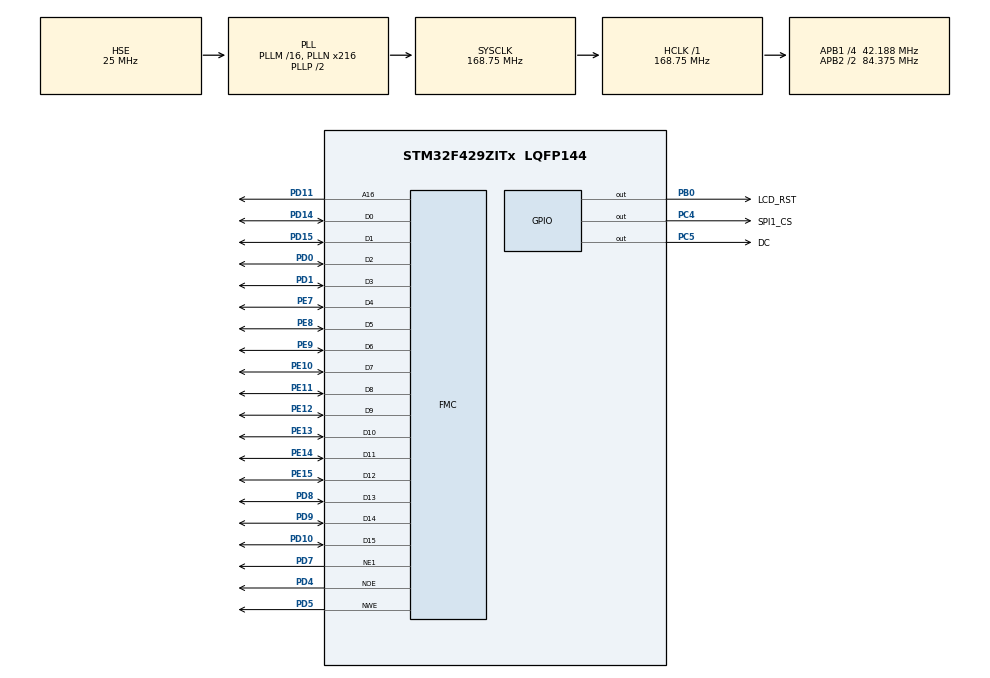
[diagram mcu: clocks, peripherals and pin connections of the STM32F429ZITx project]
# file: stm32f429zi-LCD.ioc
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FMC.AddressSetupTime1=0
FMC.DataSetupTime1=26
FMC.ExtendedAddressSetupTime1=0
FMC.ExtendedBusTurnAroundDuration1=0
FMC.ExtendedDataSetupTime1=1
FMC.ExtendedMode1=FMC_EXTENDED_MODE_ENABLE
Mcu.Family=STM32F4
Mcu.Name=STM32F429ZITx
Mcu.Package=LQFP144
NVIC.PriorityGroup=NVIC_PRIORITYGROUP_4
PA13.Mode=Serial_Wire
PA13.Signal=SYS_JTMS-SWDIO
PA14.Mode=Serial_Wire
PA14.Signal=SYS_JTCK-SWCLK
PB0.GPIO_Label=LCD_RST
PB0.Signal=GPIO_Output
PC4.GPIO_Label=SPI1_CS
PC4.Signal=GPIO_Output
PC5.GPIO_Label=DC
PC5.Signal=GPIO_Output
PD0.Signal=FMC_D2_DA2
PD1.Signal=FMC_D3_DA3
PD10.Signal=FMC_D15_DA15
PD11.Signal=FMC_A16_CLE
PD14.Signal=FMC_D0_DA0
PD15.Signal=FMC_D1_DA1
PD4.Signal=FMC_NOE
PD5.Signal=FMC_NWE
PD7.Mode=NorPsramChipSelect1_1
PD7.Signal=FMC_NE1
PD8.Signal=FMC_D13_DA13
PD9.Signal=FMC_D14_DA14
PE10.Signal=FMC_D7_DA7
PE11.Signal=FMC_D8_DA8
PE12.Signal=FMC_D9_DA9
PE13.Signal=FMC_D10_DA10
PE14.Signal=FMC_D11_DA11
PE15.Signal=FMC_D12_DA12
PE7.Signal=FMC_D4_DA4
PE8.Signal=FMC_D5_DA5
PE9.Signal=FMC_D6_DA6
PH0/OSC_IN.Mode=HSE-External-Oscillator
PH0/OSC_IN.Signal=RCC_OSC_IN
PH1/OSC_OUT.Mode=HSE-External-Oscillator
PH1/OSC_OUT.Signal=RCC_OSC_OUT
ProjectManager.HeapSize=0x200
ProjectManager.StackSize=0x400
ProjectManager.TargetToolchain=MDK-ARM V5.32
RCC.48MHZClocksFreq_Value=84375000
RCC.AHBFreq_Value=168750000
RCC.APB1CLKDivider=RCC_HCLK_DIV4
RCC.APB1Freq_Value=42187500
RCC.APB1TimFreq_Value=84375000
RCC.APB2CLKDivider=RCC_HCLK_DIV2
RCC.APB2Freq_Value=84375000
RCC.APB2TimFreq_Value=168750000
RCC.CortexFreq_Value=168750000
RCC.HCLKFreq_Value=168750000
RCC.HSE_VALUE=25000000
RCC.HSI_VALUE=16000000
RCC.LSE_VALUE=32768
RCC.PLLN=216
RCC.PLLSAIN=60
RCC.PLLSAIR=3
RCC.PLLSourceVirtual=RCC_PLLSOURCE_HSE
RCC.SYSCLKFreq_VALUE=168750000
RCC.SYSCLKSource=RCC_SYSCLKSOURCE_PLLCLK
RCC.VCOOutputFreq_Value=337500000
SH.FMC_A16_CLE.0=FMC_A16,A16_1
SH.FMC_D0_DA0.0=FMC_D0,16b-d1
SH.FMC_D10_DA10.0=FMC_D10,16b-d1
SH.FMC_D11_DA11.0=FMC_D11,16b-d1
SH.FMC_D12_DA12.0=FMC_D12,16b-d1
SH.FMC_D13_DA13.0=FMC_D13,16b-d1
SH.FMC_D14_DA14.0=FMC_D14,16b-d1
SH.FMC_D15_DA15.0=FMC_D15,16b-d1
SH.FMC_D1_DA1.0=FMC_D1,16b-d1
SH.FMC_D2_DA2.0=FMC_D2,16b-d1
SH.FMC_D3_DA3.0=FMC_D3,16b-d1
SH.FMC_D4_DA4.0=FMC_D4,16b-d1
SH.FMC_D5_DA5.0=FMC_D5,16b-d1
SH.FMC_D6_DA6.0=FMC_D6,16b-d1
SH.FMC_D7_DA7.0=FMC_D7,16b-d1
SH.FMC_D8_DA8.0=FMC_D8,16b-d1
SH.FMC_D9_DA9.0=FMC_D9,16b-d1
SH.FMC_NOE.0=FMC_NOE,Lcd1
SH.FMC_NWE.0=FMC_NWE,Lcd1
board=custom

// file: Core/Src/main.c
/* USER CODE BEGIN Header */
/**
  ******************************************************************************
  * @file           : main.c
  * @brief          : Main program body
  ******************************************************************************
  * @attention
  *
  * Copyright (c) 2022 STMicroelectronics.
  * All rights reserved.
  *
  * This software is licensed under terms that can be found in the LICENSE file
  * in the root directory of this software component.
  * If no LICENSE file comes with this software, it is provided AS-IS.
  *
  ******************************************************************************
  */
/* USER CODE END Header */
#include "main.h"

/* USER CODE BEGIN Includes */
#include "bsp_ili9341_lcd.h"
/* USER CODE END Includes */

 SRAM_HandleTypeDef hsram1;

void SystemClock_Config(void);
static void MX_GPIO_Init(void);
static void MX_FMC_Init(void);

/* USER CODE BEGIN 0 */
void LCD_Test(void)
{
    /*演示显示变量*/
	static uint8_t testCNT = 0;
	char dispBuff[100];

	testCNT++;

	LCD_SetFont(&Font8x16);
	LCD_SetColors(RED,BLACK);

    ILI9341_Clear(0,0,LCD_X_LENGTH,LCD_Y_LENGTH);	/* 清屏，显示全黿 */
	/********显示字符串示便*******/
    ILI9341_DispStringLine_EN(LINE(0),"hello lcd");
    ILI9341_DispStringLine_EN(LINE(1),"Image resolution:480x320 px");
#if 0
    if(lcdid == LCDID_ILI9341)
    {
        ILI9341_DispStringLine_EN(LINE(2),"ILI9341 LCD driver");
    }
    else if(lcdid == LCDID_ST7789V)
    {
        ILI9341_DispStringLine_EN(LINE(2),"ST7789V LCD driver");
    }
    ILI9341_DispStringLine_EN(LINE(3),"XPT2046 Touch Pad driver");
#endif
#if 1
	/********显示变量示例*******/
	LCD_SetFont(&Font16x24);
	LCD_SetTextColor(GREEN);

	/*使用c标准库把变量转化成字符串*/
	sprintf(dispBuff,"Count : %d ",testCNT);
    LCD_ClearLine(LINE(4));	/* 清除单行文字 */

	/*然后显示该字符串即可，其它变量也是这样处琿*/
	ILI9341_DispStringLine_EN(LINE(4),dispBuff);

	/*******显示图形示例******/
	LCD_SetFont(&Font24x32);
    /* 画直线 */

    LCD_ClearLine(LINE(4));/* 清除单行文字 */
	LCD_SetTextColor(BLUE);

    ILI9341_DispStringLine_EN(LINE(4),"Draw line:");

	LCD_SetTextColor(RED);
    ILI9341_DrawLine(50,170,210,230);
    ILI9341_DrawLine(50,200,210,240);

	LCD_SetTextColor(GREEN);
    ILI9341_DrawLine(100,170,200,230);
    ILI9341_DrawLine(200,200,220,240);

	LCD_SetTextColor(BLUE);
    ILI9341_DrawLine(110,170,110,230);
    ILI9341_DrawLine(130,200,220,240);

    HAL_Delay(1000);

    ILI9341_Clear(0,16*8,LCD_X_LENGTH,LCD_Y_LENGTH-16*8);	/* 清屏，显示全黿 */

    /*画矩彿*/

    LCD_ClearLine(LINE(4));	/* 清除单行文字 */
	LCD_SetTextColor(BLUE);

    ILI9341_DispStringLine_EN(LINE(4),"Draw Rect:");

	LCD_SetTextColor(RED);
    ILI9341_DrawRectangle(50,200,100,30,1);

	LCD_SetTextColor(GREEN);
    ILI9341_DrawRectangle(160,200,20,40,0);

	LCD_SetTextColor(BLUE);
    ILI9341_DrawRectangle(170,200,50,20,1);

    HAL_Delay(1000);

    ILI9341_Clear(0,16*8,LCD_X_LENGTH,LCD_Y_LENGTH-16*8);	/* 清屏，显示全黿 */

    /* 画圆 */
    LCD_ClearLine(LINE(4));	/* 清除单行文字 */
	LCD_SetTextColor(BLUE);

    ILI9341_DispStringLine_EN(LINE(4),"Draw Cir:");

	LCD_SetTextColor(RED);
    ILI9341_DrawCircle(100,200,20,0);

	LCD_SetTextColor(GREEN);
    ILI9341_DrawCircle(100,200,10,1);

	LCD_SetTextColor(BLUE);
	ILI9341_DrawCircle(140,200,20,0);

    HAL_Delay(1000);

    ILI9341_Clear(0,16*8,LCD_X_LENGTH,LCD_Y_LENGTH-16*8);	/* 清屏，显示全黿 */
#endif
}
/* USER CODE END 0 */

int main(void)
{

  /* MCU Configuration--------------------------------------------------------*/

  /* Reset of all peripherals, Initializes the Flash interface and the Systick. */
  HAL_Init();

  /* Configure the system clock */
  SystemClock_Config();

  /* Initialize all configured peripherals */
  MX_GPIO_Init();
  MX_FMC_Init();
  ILI9341_Init();
  uint16_t test = ILI9341_ReadID();
  /* Infinite loop */
  /* USER CODE BEGIN WHILE */
    LCD_Test();
  while (1)
  {
    /* USER CODE END WHILE */
  }
}

void SystemClock_Config(void)
{
  RCC_OscInitTypeDef RCC_OscInitStruct = {0};
  RCC_ClkInitTypeDef RCC_ClkInitStruct = {0};

  /** Configure the main internal regulator output voltage
  */
  __HAL_RCC_PWR_CLK_ENABLE();
  __HAL_PWR_VOLTAGESCALING_CONFIG(PWR_REGULATOR_VOLTAGE_SCALE1);

  /** Initializes the RCC Oscillators according to the specified parameters
  * in the RCC_OscInitTypeDef structure.
  */
  RCC_OscInitStruct.OscillatorType = RCC_OSCILLATORTYPE_HSE;
  RCC_OscInitStruct.HSEState = RCC_HSE_ON;
  RCC_OscInitStruct.PLL.PLLState = RCC_PLL_ON;
  RCC_OscInitStruct.PLL.PLLSource = RCC_PLLSOURCE_HSE;
  RCC_OscInitStruct.PLL.PLLM = 16;
  RCC_OscInitStruct.PLL.PLLN = 216;
  RCC_OscInitStruct.PLL.PLLP = RCC_PLLP_DIV2;
  RCC_OscInitStruct.PLL.PLLQ = 4;
  if (HAL_RCC_OscConfig(&RCC_OscInitStruct) != HAL_OK)
  {
    Error_Handler();
  }

  /** Activate the Over-Drive mode
  */
  if (HAL_PWREx_EnableOverDrive() != HAL_OK)
  {
    Error_Handler();
  }

  /** Initializes the CPU, AHB and APB buses clocks
  */
  RCC_ClkInitStruct.ClockType = RCC_CLOCKTYPE_HCLK|RCC_CLOCKTYPE_SYSCLK
                              |RCC_CLOCKTYPE_PCLK1|RCC_CLOCKTYPE_PCLK2;
  RCC_ClkInitStruct.SYSCLKSource = RCC_SYSCLKSOURCE_PLLCLK;
  RCC_ClkInitStruct.AHBCLKDivider = RCC_SYSCLK_DIV1;
  RCC_ClkInitStruct.APB1CLKDivider = RCC_HCLK_DIV4;
  RCC_ClkInitStruct.APB2CLKDivider = RCC_HCLK_DIV2;

  if (HAL_RCC_ClockConfig(&RCC_ClkInitStruct, FLASH_LATENCY_5) != HAL_OK)
  {
    Error_Handler();
  }
}

/* FMC initialization function */
static void MX_FMC_Init(void)
{

  FMC_NORSRAM_TimingTypeDef Timing = {0};
  FMC_NORSRAM_TimingTypeDef ExtTiming = {0};

  /** Perform the SRAM1 memory initialization sequence
  */
  hsram1.Instance = FMC_NORSRAM_DEVICE;
  hsram1.Extended = FMC_NORSRAM_EXTENDED_DEVICE;
  /* hsram1.Init */
  hsram1.Init.NSBank = FMC_NORSRAM_BANK1;
  hsram1.Init.DataAddressMux = FMC_DATA_ADDRESS_MUX_DISABLE;
  hsram1.Init.MemoryType = FMC_MEMORY_TYPE_SRAM;
  hsram1.Init.MemoryDataWidth = FMC_NORSRAM_MEM_BUS_WIDTH_16;
  hsram1.Init.BurstAccessMode = FMC_BURST_ACCESS_MODE_DISABLE;
  hsram1.Init.WaitSignalPolarity = FMC_WAIT_SIGNAL_POLARITY_LOW;
  hsram1.Init.WrapMode = FMC_WRAP_MODE_DISABLE;
  hsram1.Init.WaitSignalActive = FMC_WAIT_TIMING_BEFORE_WS;
  hsram1.Init.WriteOperation = FMC_WRITE_OPERATION_ENABLE;
  hsram1.Init.WaitSignal = FMC_WAIT_SIGNAL_DISABLE;
  hsram1.Init.ExtendedMode = FMC_EXTENDED_MODE_ENABLE;
  hsram1.Init.AsynchronousWait = FMC_ASYNCHRONOUS_WAIT_DISABLE;
  hsram1.Init.WriteBurst = FMC_WRITE_BURST_DISABLE;
  hsram1.Init.ContinuousClock = FMC_CONTINUOUS_CLOCK_SYNC_ONLY;
  hsram1.Init.PageSize = FMC_PAGE_SIZE_NONE;
  /* Timing */
  Timing.AddressSetupTime = 0;
  Timing.AddressHoldTime = 15;
  Timing.DataSetupTime = 26;
  Timing.BusTurnAroundDuration = 15;
  Timing.CLKDivision = 16;
  Timing.DataLatency = 17;
  Timing.AccessMode = FMC_ACCESS_MODE_A;
  /* ExtTiming */
  ExtTiming.AddressSetupTime = 0;
  ExtTiming.AddressHoldTime = 15;
  ExtTiming.DataSetupTime = 1;
  ExtTiming.BusTurnAroundDuration = 0;
  ExtTiming.CLKDivision = 16;
  ExtTiming.DataLatency = 17;
  ExtTiming.AccessMode = FMC_ACCESS_MODE_A;

  if (HAL_SRAM_Init(&hsram1, &Timing, &ExtTiming) != HAL_OK)
  {
    Error_Handler( );
  }

}

static void MX_GPIO_Init(void)
{
  GPIO_InitTypeDef GPIO_InitStruct = {0};

  /* GPIO Ports Clock Enable */
  __HAL_RCC_GPIOH_CLK_ENABLE();
  __HAL_RCC_GPIOC_CLK_ENABLE();
  __HAL_RCC_GPIOB_CLK_ENABLE();
  __HAL_RCC_GPIOE_CLK_ENABLE();
  __HAL_RCC_GPIOD_CLK_ENABLE();
  __HAL_RCC_GPIOA_CLK_ENABLE();

  /*Configure GPIO pin Output Level */
  HAL_GPIO_WritePin(GPIOC, SPI1_CS_Pin|DC_Pin, GPIO_PIN_RESET);

  /*Configure GPIO pin Output Level */
  HAL_GPIO_WritePin(LCD_RST_GPIO_Port, LCD_RST_Pin, GPIO_PIN_RESET);

  /*Configure GPIO pins : SPI1_CS_Pin DC_Pin */
  GPIO_InitStruct.Pin = SPI1_CS_Pin|DC_Pin;
  GPIO_InitStruct.Mode = GPIO_MODE_OUTPUT_PP;
  GPIO_InitStruct.Pull = GPIO_NOPULL;
  GPIO_InitStruct.Speed = GPIO_SPEED_FREQ_LOW;
  HAL_GPIO_Init(GPIOC, &GPIO_InitStruct);

  /*Configure GPIO pin : LCD_RST_Pin */
  GPIO_InitStruct.Pin = LCD_RST_Pin;
  GPIO_InitStruct.Mode = GPIO_MODE_OUTPUT_PP;
  GPIO_InitStruct.Pull = GPIO_NOPULL;
  GPIO_InitStruct.Speed = GPIO_SPEED_FREQ_LOW;
  HAL_GPIO_Init(LCD_RST_GPIO_Port, &GPIO_InitStruct);

}

void Error_Handler(void)
{
  __disable_irq();
  while (1)
  {
  }
}
